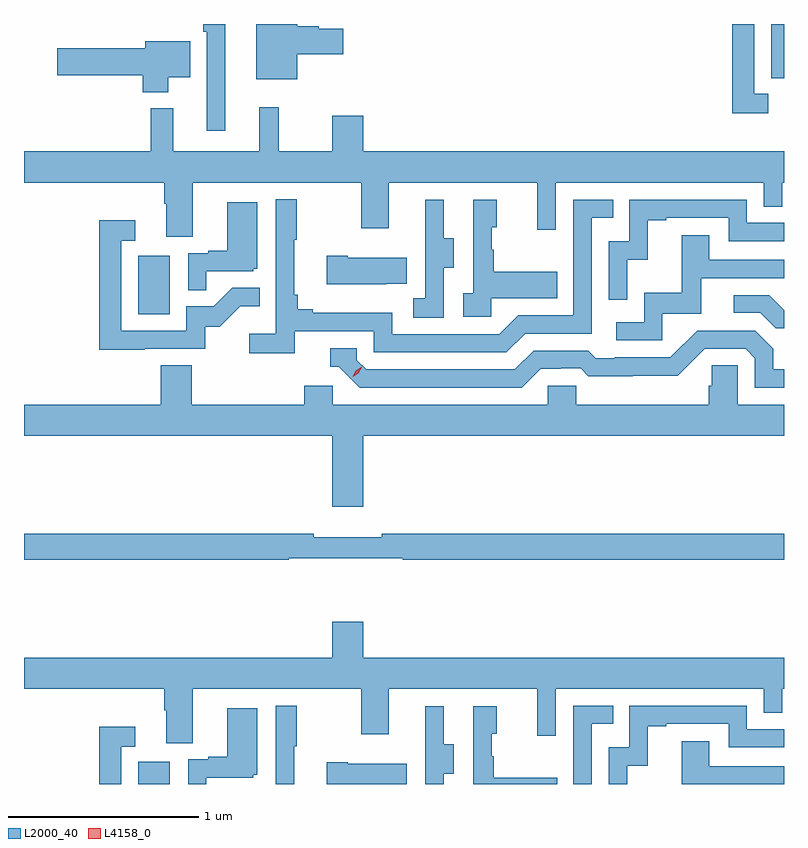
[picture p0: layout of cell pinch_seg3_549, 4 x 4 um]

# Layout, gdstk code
import gdstk
lib = gdstk.Library(unit=1e-6, precision=1e-09)
def R(c, l, rs):  # rectangles x0, y0, x1, y1
    for r in rs: c.add(gdstk.rectangle(r[:2], r[2:], *l))
def P(c, l, *ps):  # polygons
    for p in ps: c.add(gdstk.Polygon(p, *l))
L2000_40 = (2000, 40)
L4158_0 = (4158, 0)

pinch_seg3_549 = lib.new_cell('pinch_seg3_549')
R(pinch_seg3_549, L2000_40, [(1087.064,696.419,1087.228,696.535), (1087.064,698.892,1087.228,699.199), (1090.394,700.134,1090.462,700.419)])
P(pinch_seg3_549, L2000_40, [(1087.9,700.259),(1088.143,700.259),(1088.143,700.393),(1088.013,700.393),(1088.013,700.406),(1087.9,700.406),(1087.9,700.419),(1087.685,700.419),(1087.685,700.127),(1087.9,700.127)],
  [(1090.378,700.053),(1090.305,700.053),(1090.305,700.419),(1090.189,700.419),(1090.189,699.948),(1090.378,699.948)],
  [(1087.522,700.419),(1087.405,700.419),(1087.405,700.379),(1087.425,700.379),(1087.425,699.858),(1087.522,699.858)],
  [(1087.222,700.139),(1087.336,700.139),(1087.336,700.327),(1087.1,700.327),(1087.1,700.292),(1086.636,700.292),(1086.636,700.15),(1087.088,700.15),(1087.088,700.061),(1087.222,700.061)],
  [(1087.351,699.584),(1088.236,699.584),(1088.236,699.345),(1088.383,699.345),(1088.383,699.584),(1089.164,699.584),(1089.164,699.336),(1089.261,699.336),(1089.261,699.584),(1090.356,699.584),(1090.356,699.457),(1090.452,699.457),(1090.452,699.584),(1090.462,699.584),(1090.462,699.748),(1088.248,699.748),(1088.248,699.937),(1088.084,699.937),(1088.084,699.748),(1087.802,699.748),(1087.802,699.982),(1087.7,699.982),(1087.7,699.748),(1087.247,699.748),(1087.247,699.976),(1087.129,699.976),(1087.129,699.748),(1086.462,699.748),(1086.462,699.584),(1087.199,699.584),(1087.199,699.472),(1087.211,699.472),(1087.211,699.298),(1087.351,699.298)],
  [(1087.886,698.802),(1088.304,698.802),(1088.304,698.691),(1089.001,698.691),(1089.1,698.79),(1089.45,698.79),(1089.45,699.399),(1089.563,699.399),(1089.563,699.495),(1089.354,699.495),(1089.354,698.886),(1089.063,698.886),(1088.964,698.787),(1088.4,698.787),(1088.4,698.899),(1087.981,698.899),(1087.981,698.918),(1087.904,698.918),(1087.904,698.995),(1087.885,698.995),(1087.885,699.283),(1087.897,699.283),(1087.897,699.496),(1087.788,699.496),(1087.788,698.788),(1087.647,698.788),(1087.647,698.686),(1087.886,698.686)],
  [(1089.636,699.179),(1089.746,699.179),(1089.746,699.387),(1089.841,699.387),(1089.841,699.399),(1090.17,699.399),(1090.17,699.276),(1090.462,699.276),(1090.462,699.372),(1090.266,699.372),(1090.266,699.495),(1089.648,699.495),(1089.648,699.276),(1089.54,699.276),(1089.54,698.967),(1089.636,698.967)],
  [(1088.922,698.975),(1089.269,698.975),(1089.269,699.115),(1088.935,699.115),(1088.935,699.23),(1088.925,699.23),(1088.925,699.348),(1088.95,699.348),(1088.95,699.493),(1088.826,699.493),(1088.826,699.002),(1088.775,699.002),(1088.775,698.877),(1088.922,698.877)],
  [(1088.67,699.136),(1088.725,699.136),(1088.725,699.291),(1088.671,699.291),(1088.671,699.493),(1088.573,699.493),(1088.573,699.279),(1088.574,699.279),(1088.574,698.975),(1088.511,698.975),(1088.511,698.872),(1088.67,698.872)],
  [(1087.421,699.117),(1087.668,699.117),(1087.668,699.132),(1087.69,699.132),(1087.69,699.481),(1087.532,699.481),(1087.532,699.226),(1087.433,699.226),(1087.433,699.213),(1087.326,699.213),(1087.326,699.019),(1087.421,699.019)],
  [(1087.097,698.709),(1087.416,698.709),(1087.416,698.826),(1087.492,698.826),(1087.599,698.933),(1087.703,698.933),(1087.703,699.032),(1087.559,699.032),(1087.461,698.934),(1087.317,698.934),(1087.317,698.805),(1086.975,698.805),(1086.975,699.279),(1087.048,699.279),(1087.048,699.385),(1086.859,699.385),(1086.859,698.704),(1087.097,698.704)],
  [(1089.822,698.895),(1090.027,698.895),(1090.027,699.081),(1090.462,699.081),(1090.462,699.177),(1090.069,699.177),(1090.069,699.307),(1089.925,699.307),(1089.925,699.004),(1089.726,699.004),(1089.726,698.85),(1089.579,698.85),(1089.579,698.754),(1089.822,698.754)],
  [(1088.369,699.053),(1088.477,699.053),(1088.477,699.19),(1088.167,699.19),(1088.167,699.198),(1088.055,699.198),(1088.055,699.05),(1088.369,699.05)],
  [(1090.462,698.913),(1090.384,698.991),(1090.197,698.991),(1090.197,698.898),(1090.338,698.898),(1090.418,698.818),(1090.462,698.818)],
  [(1089.181,698.604),(1089.288,698.604),(1089.288,698.607),(1089.391,698.607),(1089.433,698.565),(1089.666,698.565),(1089.666,698.567),(1089.902,698.567),(1090.044,698.709),(1090.26,698.709),(1090.308,698.661),(1090.308,698.505),(1090.462,698.505),(1090.462,698.601),(1090.405,698.601),(1090.405,698.711),(1090.311,698.805),(1090.005,698.805),(1089.864,698.664),(1089.571,698.664),(1089.571,698.661),(1089.472,698.661),(1089.433,698.7),(1089.144,698.7),(1089.045,698.601),(1088.262,698.601),(1088.214,698.649),(1088.214,698.712),(1088.075,698.712),(1088.075,698.616),(1088.118,698.616),(1088.229,698.505),(1089.082,698.505)],
  [(1088.248,698.252),(1090.462,698.252),(1090.462,698.416),(1090.218,698.416),(1090.218,698.624),(1090.081,698.624),(1090.081,698.514),(1090.067,698.514),(1090.067,698.416),(1089.369,698.416),(1089.369,698.514),(1089.219,698.514),(1089.219,698.416),(1088.088,698.416),(1088.088,698.514),(1087.937,698.514),(1087.937,698.416),(1087.346,698.416),(1087.346,698.624),(1087.181,698.624),(1087.181,698.416),(1086.462,698.416),(1086.462,698.252),(1088.084,698.252),(1088.084,697.878),(1088.248,697.878)],
  [(1087.856,697.608),(1088.456,697.608),(1088.456,697.6),(1090.462,697.6),(1090.462,697.736),(1088.344,697.736),(1088.344,697.717),(1087.988,697.717),(1087.988,697.736),(1086.462,697.736),(1086.462,697.6),(1087.856,697.6)],
  [(1087.351,696.92),(1088.236,696.92),(1088.236,696.681),(1088.383,696.681),(1088.383,696.92),(1089.164,696.92),(1089.164,696.672),(1089.261,696.672),(1089.261,696.92),(1090.356,696.92),(1090.356,696.793),(1090.452,696.793),(1090.452,696.92),(1090.462,696.92),(1090.462,697.084),(1088.248,697.084),(1088.248,697.273),(1088.084,697.273),(1088.084,697.084),(1086.462,697.084),(1086.462,696.92),(1087.199,696.92),(1087.199,696.808),(1087.211,696.808),(1087.211,696.634),(1087.351,696.634)],
  [(1087.885,696.619),(1087.897,696.619),(1087.897,696.832),(1087.788,696.832),(1087.788,696.419),(1087.885,696.419)],
  [(1089.636,696.515),(1089.746,696.515),(1089.746,696.723),(1089.841,696.723),(1089.841,696.735),(1090.17,696.735),(1090.17,696.612),(1090.462,696.612),(1090.462,696.708),(1090.266,696.708),(1090.266,696.831),(1089.648,696.831),(1089.648,696.612),(1089.54,696.612),(1089.54,696.419),(1089.636,696.419)],
  [(1089.45,696.735),(1089.563,696.735),(1089.563,696.831),(1089.354,696.831),(1089.354,696.419),(1089.45,696.419)],
  [(1089.269,696.451),(1088.935,696.451),(1088.935,696.566),(1088.925,696.566),(1088.925,696.684),(1088.95,696.684),(1088.95,696.829),(1088.826,696.829),(1088.826,696.419),(1089.269,696.419)],
  [(1088.67,696.472),(1088.725,696.472),(1088.725,696.627),(1088.671,696.627),(1088.671,696.829),(1088.573,696.829),(1088.573,696.615),(1088.574,696.615),(1088.574,696.419),(1088.67,696.419)],
  [(1087.421,696.453),(1087.668,696.453),(1087.668,696.468),(1087.69,696.468),(1087.69,696.817),(1087.532,696.817),(1087.532,696.562),(1087.433,696.562),(1087.433,696.549),(1087.326,696.549),(1087.326,696.419),(1087.421,696.419)],
  [(1086.975,696.615),(1087.048,696.615),(1087.048,696.721),(1086.859,696.721),(1086.859,696.419),(1086.975,696.419)],
  [(1090.462,696.513),(1090.069,696.513),(1090.069,696.643),(1089.925,696.643),(1089.925,696.419),(1090.462,696.419)],
  [(1088.477,696.526),(1088.167,696.526),(1088.167,696.534),(1088.055,696.534),(1088.055,696.419),(1088.477,696.419)])
P(pinch_seg3_549, L4158_0, [(1088.191,698.563),(1088.191,698.563),(1088.208,698.595),(1088.239,698.614),(1088.239,698.614),(1088.239,698.613),(1088.222,698.581),(1088.191,698.563)])

lib.write_gds('pinch_seg3_549.gds')
